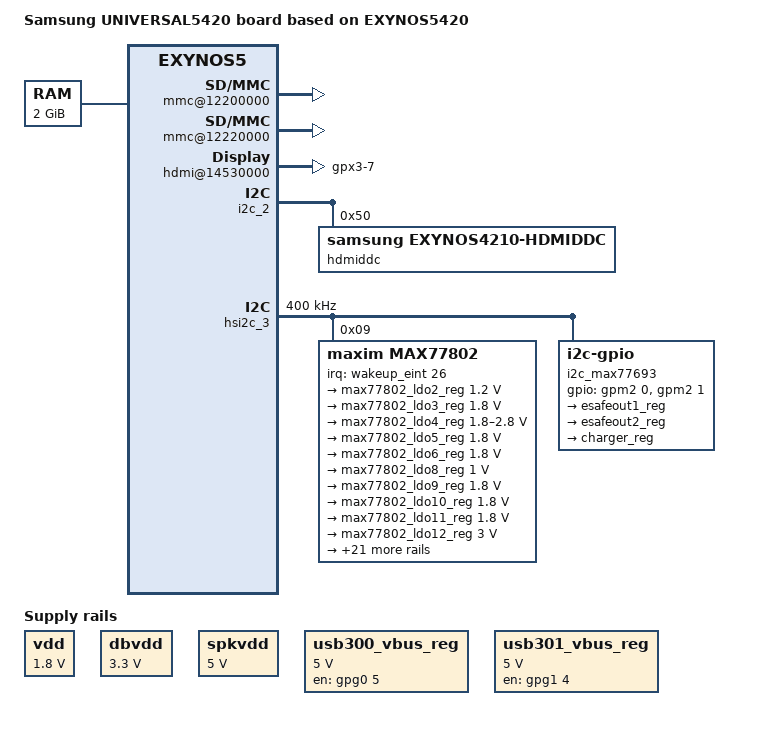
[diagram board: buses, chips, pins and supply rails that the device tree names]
/*
 * SAMSUNG UNIVERSAL5420 board device tree source
 *
 * Copyright (c) 2013 Samsung Electronics Co., Ltd.
 *		http://www.samsung.com
 *
 * This program is free software; you can redistribute it and/or modify
 * it under the terms of the GNU General Public License version 2 as
 * published by the Free Software Foundation.
*/

/dts-v1/;
#include "exynos5420.dtsi"

/ {
	model = "Samsung UNIVERSAL5420 board based on EXYNOS5420";
	compatible = "samsung,universal5420",
        "samsung,n1", "samsung,n1a",
        "samsung,n1awifi", "samsung,lt03",
        "samsung,lt03wifi", "samsung,exynos5420",
        "samsung,exynos5";

	memory {
		reg = <0x20000000 0x80000000>;
	};

	chosen {
		bootargs = "console=ttySAC2,115200n8 vmalloc=512M androidboot.console=ttySAC2";
	};

	fixed-rate-clocks {
		oscclk {
			compatible = "samsung,exynos5420-oscclk";
			clock-frequency = <24000000>;
		};
	};

	regulators {
		compatible = "simple-bus";
		#address-cells = <1>;
		#size-cells = <0>;

		vdd: fixed-regulator@0 {
			compatible = "regulator-fixed";
			reg = <0>;
			regulator-name = "vdd-supply";
			regulator-min-microvolt = <1800000>;
			regulator-max-microvolt = <1800000>;
			regulator-always-on;
		};

		dbvdd: fixed-regulator@1 {
			compatible = "regulator-fixed";
			reg = <1>;
			regulator-name = "dbvdd-supply";
			regulator-min-microvolt = <3300000>;
			regulator-max-microvolt = <3300000>;
			regulator-always-on;
		};

		spkvdd: fixed-regulator@2 {
			compatible = "regulator-fixed";
			reg = <2>;
			regulator-name = "spkvdd-supply";
			regulator-min-microvolt = <5000000>;
			regulator-max-microvolt = <5000000>;
			regulator-always-on;
		};
	};

	rtc@101E0000 {
		status = "okay";
	};


	/* The universal5420 has a Wolfson WM5102 codec. */
	/* Not sure if I should remove this node (from the smdk5420 device tree) */
	/* and replace it with the WM5102 node, or what? */

	codec@11000000 {
		samsung,mfc-r = <0x43000000 0x800000>;
		samsung,mfc-l = <0x51000000 0x800000>;
	};

	mmc@12200000 {
		status = "okay";
		broken-cd;
		supports-highspeed;
		card-detect-delay = <200>;
		samsung,dw-mshc-ciu-div = <3>;
		samsung,dw-mshc-sdr-timing = <0 4>;
		samsung,dw-mshc-ddr-timing = <0 2>;
		pinctrl-names = "default";
		pinctrl-0 = <&sd0_clk &sd0_cmd &sd0_bus4 &sd0_bus8>;

		slot@0 {
			reg = <0>;
			bus-width = <8>;
		};
	};

	mmc@12220000 {
		status = "okay";
		supports-highspeed;
		card-detect-delay = <200>;
		samsung,dw-mshc-ciu-div = <3>;
		samsung,dw-mshc-sdr-timing = <2 3>;
		samsung,dw-mshc-ddr-timing = <1 2>;
		pinctrl-names = "default";
		pinctrl-0 = <&sd2_clk &sd2_cmd &sd2_cd &sd2_bus4>;

		slot@0 {
			reg = <0>;
			bus-width = <4>;
		};
	};

	dp-controller@145B0000 {
		pinctrl-names = "default";
		pinctrl-0 = <&dp_hpd>;
		samsung,color-space = <0>;
		samsung,dynamic-range = <0>;
		samsung,ycbcr-coeff = <0>;
		samsung,color-depth = <1>;
		samsung,link-rate = <0x0a>;
		samsung,lane-count = <4>;
		status = "okay";
	};

	fimd@14400000 {
		status = "okay";
		display-timings {
			native-mode = <&timing0>;
			timing0: timing@0 {
				clock-frequency = <50000>;
				hactive = <2560>;
				vactive = <1600>;
				hfront-porch = <48>;
				hback-porch = <80>;
				hsync-len = <32>;
				vback-porch = <16>;
				vfront-porch = <8>;
				vsync-len = <6>;
			};
		};
	};

	pinctrl@13400000 {
		hdmi_hpd_irq: hdmi-hpd-irq {
			samsung,pins = "gpx3-7";
			samsung,pin-function = <0>;
			samsung,pin-pud = <1>;
			samsung,pin-drv = <0>;
		};
	};

	pinctrl@14000000 {
		usb300_vbus_en: usb300-vbus-en {
			samsung,pins = "gpg0-5";
			samsung,pin-function = <1>;
			samsung,pin-pud = <0>;
			samsung,pin-drv = <0>;
		};

		usb301_vbus_en: usb301-vbus-en {
			samsung,pins = "gpg1-4";
			samsung,pin-function = <1>;
			samsung,pin-pud = <0>;
			samsung,pin-drv = <0>;
		};
	};

	hdmi@14530000 {
		status = "okay";
		hpd-gpio = <&gpx3 7 0>;
		pinctrl-names = "default";
		pinctrl-0 = <&hdmi_hpd_irq>;
	};

	usb300_vbus_reg: regulator-usb300 {
		compatible = "regulator-fixed";
		regulator-name = "VBUS0";
		regulator-min-microvolt = <5000000>;
		regulator-max-microvolt = <5000000>;
		gpio = <&gpg0 5 0>;
		pinctrl-names = "default";
		pinctrl-0 = <&usb300_vbus_en>;
		enable-active-high;
	};

	usb301_vbus_reg: regulator-usb301 {
		compatible = "regulator-fixed";
		regulator-name = "VBUS1";
		regulator-min-microvolt = <5000000>;
		regulator-max-microvolt = <5000000>;
		gpio = <&gpg1 4 0>;
		pinctrl-names = "default";
		pinctrl-0 = <&usb301_vbus_en>;
		enable-active-high;
	};

	phy@12100000 {
		vbus-supply = <&usb300_vbus_reg>;
	};

	phy@12500000 {
		vbus-supply = <&usb301_vbus_reg>;
	};

	i2c_2: i2c@12C80000 {
		samsung,i2c-sda-delay = <100>;
		samsung,i2c-max-bus-freq = <66000>;
		status = "okay";

		hdmiddc@50 {
			compatible = "samsung,exynos4210-hdmiddc";
			reg = <0x50>;
		};
	};

	hsi2c_3: i2c@12CD0000 {
		compatible = "samsung,exynos5-hsi2c";
		reg = <0x12CD0000 0x1000>;
		#address-cells = <1>;
		#size-cells = <0>;
		clocks = <&clock CLK_USI0>;
		clock-names = "hsi2c";
		pinctrl-0 = <&i2c3_hs_bus>;
		pinctrl-names = "default";
		interrupts = <0 63 0>;
		clock-frequency = <400000>;
		status = "okay";

		max77802@09 {
			compatible = "maxim,max77802";
			interrupt-parent = <&wakeup_eint>;
			interrupts = <26 0>;
			reg = <0x09>;
			#address-cells = <1>;
			#size-cells = <0>;
			/* The above is taken from max77802 documentation file. Unit-address has yet to be verified. */

			regulators {
				max77802_ldo2_reg: LDO2 {
					regulator-name ="vmem2_1.2v_ap";
					regulator-min-microvolt = <1200000>;
					regulator-max-microvolt = <1200000>;
					regulator-always-on;
					regulator-boot-on;
					regulator-apply-uV;
					regulator-valid-modes-mask {	
						regulator-change-status;
					};
					regulator-state-mem {
						regulator-state-disabled;
						regulator-state-enabled;
					};
					max77802,consumer-supplies = "vmem2_1.2v_ap"; //or: regulator-consumer-supplies =
				};

				max77802_ldo3_reg: LDO3 {
					regulator-compatible = 	"vcc_1.8v_ap", "spi2.0", "wm5102-codec";
					regulator-name = "vcc_1.8v_ap";
					regulator-min-microvolt = <1800000>;
					regulator-max-microvolt = <1800000>;
					regulator-always-on;
					regulator-boot-on;
					regulator-apply-uV;
					regulator-valid-modes-mask {	
						regulator-change-status;
					};
					regulator-state-mem {
						regulator-status-disabled;
						regulator-status-enabled;
					};
					max77802,consumer-supplies = "vcc_1.8v_ap";
				};

				max77802_ldo4_reg: LDO4 {
					regulator-compatible = "vmmc2_2.8v_ap", "vqmmc,dw_mmc.2", "vqmmc", "dw_mmc.2";
					regulator-name = "vmmc2_2.8v_ap";
					regulator-min-microvolt = <1800000>;
					regulator-max-microvolt = <2800000>;
					regulator-always-on;
					regulator-boot-on;
					regulator-apply-uV;
					regulator-valid-modes-mask {
						regulator-change-voltage;
						regulator-change-status;
					};
					regulator-state-mem {
						regulator-status-disabled;
						regulator-status-enabled;
					};
					max77802,consumer-supplies = "vmmc2_2.8v_ap";
				};

				max77802_ldo5_reg: LDO5 {
					regulator-name = "vhsic_1.8v_ap";
					regulator-min-microvolt = <1800000>;
					regulator-max-microvolt = <1800000>;
					regulator-always-on;
					regulator-boot-on;
					regulator-apply-uV;
					regulator-valid-modes-mask {	
						regulator-change-status;
					};
					regulator-state-mem {
						regulator-status-disabled;
						regulator-status-enabled;
					};
					max77802,consumer-supplies = "vhsic_1.8v_ap";
				};

				max77802_ldo6_reg: LDO6 {
					regulator-name = "vxpll_1.8v_ap"
					regulator-min-microvolt = <1800000>;
					regulator-max-microvolt = <1800000>;
					regulator-always-on;
					regulator-boot-on;
					regulator-apply-uV;
					regulator-valid-modes-mask {	
						regulator-change-status;
					};
					regulator-state-mem {
						regulator-status-disabled;
						regulator-status-enabled;
					};
					max77802,consumer-supplies = "vxpll_1.8v_ap";
				};

				max77802_ldo8_reg: LDO8 {
					regulator-name = "vmipi_1.0v_ap"
					regulator-min-microvolt = <1000000>;
					regulator-max-microvolt = <1000000>;
					regulator-always-on;
					regulator-boot-on;
					regulator-apply-uV;
					regulator-valid-modes-mask {	
						regulator-change-status;
					};
					regulator-state-mem {
						regulator-status-disabled;
						regulator-status-enabled;
					};
					max77802,consumer-supplies = "vmipi_1.0v_ap";
				};

				max77802_ldo9_reg: LDO9 {
					regulator-name = "vadc_1.8v";
					regulator-min-microvolt = <1800000>;
					regulator-max-microvolt = <1800000>;
					regulator-always-on;
					regulator-boot-on;
					regulator-apply-uV;
					regulator-valid-modes-mask {	
						regulator-change-status;
					};
					regulator-state-mem {
						regulator-status-disabled;
						regulator-status-enabled;
					};
					max77802,consumer-supplies = "vadc_1.8v";
				};

				max77802_ldo10_reg: LDO10 {
					regulator-name = "vmipi_1.8v_ap";
					regulator-min-microvolt = <1800000>;
					regulator-max-microvolt = <1800000>;
					regulator-always-on;
					regulator-boot-on;
					regulator-apply-uV;
					regulator-valid-modes-mask {	
						regulator-change-status;
					};
					regulator-state-mem {
						regulator-status-disabled;
						regulator-status-enabled;
					};
					max77802,consumer-supplies = "vmipi_1.0v_ap";
				};

				max77802_ldo11_reg: LDO11 {
					regulator-name = "vddq_pre_1.8v";
					regulator-min-microvolt = <1800000>;
					regulator-max-microvolt = <1800000>;
					regulator-always-on;
					regulator-boot-on;
					regulator-apply-uV;
					regulator-valid-modes-mask {	
						regulator-change-status;
					};
					regulator-state-mem {
						regulator-status-disabled;
						regulator-status-enabled;
					};
					max77802,consumer-supplies = "vddq_pre_1.8v";
				};

				max77802_ldo12_reg: LDO12 {
					regulator-name = "vuotg_3.0v_ap";
					regulator-min-microvolt = <3000000>;
					regulator-max-microvolt = <3000000>;
					regulator-always-on;
					regulator-boot-on;
					regulator-apply-uV;
					regulator-valid-modes-mask {	
						regulator-change-status;
					};
					regulator-state-mem {
						regulator-status-disabled;
						regulator-status-enabled;
					};
					max77802,consumer-supplies = "vuotg_3.0v_ap";
				};

				max77802_ldo14_reg: LDO14 {
					regulator-name = "vabb1_1.8v_ap";
					regulator-min-microvolt = <1800000>;
					regulator-max-microvolt = <1800000>;
					regulator-always-on;
					regulator-boot-on;
					regulator-apply-uV;
					regulator-valid-modes-mask {	
						regulator-change-status;
					};
					regulator-state-mem {
						regulator-status-disabled;
						regulator-status-enabled;
					};
					max77802,consumer-supplies = "vabb1_1.8v_ap";
				};

				max77802_ldo15_reg: LDO15 {
					regulator-name = "vhsic_1.0v_ap";
					regulator-min-microvolt = <1000000>;
					regulator-max-microvolt = <1000000>;
					regulator-always-on;
					regulator-boot-on;
					regulator-apply-uV;
					regulator-valid-modes-mask {	
						regulator-change-status;
					};
					regulator-state-mem {
						regulator-status-disabled;
						regulator-status-enabled;
					};
					max77802,consumer-supplies = "vhsic_1.0v_ap";
				};

				max77802_ldo17_reg: LDO17 {
					regulator-name = "vg3ds_1.0v_ap";
					regulator-min-microvolt = <1000000>;
					regulator-max-microvolt = <1000000>;
					regulator-always-on;
					regulator-boot-on;
					regulator-apply-uV;
					regulator-valid-modes-mask {	
						regulator-change-status;
					};
					regulator-state-mem {
						regulator-status-disabled;
						regulator-status-enabled;
					};
					max77802,consumer-supplies = "vg3ds_1.0v_ap";
				};
			
				max77802_ldo18_reg: LDO18 {
					regulator-name = "cam_isp_sensor_io_1.8v";
					regulator-min-microvolt = <1800000>;
					regulator-max-microvolt = <1800000>;
					regulator-always-on;
					regulator-boot-on;
					regulator-apply-uV;
					regulator-valid-modes-mask {	
						regulator-change-status;
					};
					regulator-state-mem {
						regulator-status-disabled;
						regulator-status-enabled;
					};
					max77802,consumer-supplies = "cam_isp_sensor_io_1.8v";
				};
			
				max77802_ldo19_reg: LDO19 {
					regulator-name = "vt_cam_1.8v";
					regulator-min-microvolt = <1800000>;
					regulator-max-microvolt = <1800000>;
					regulator-always-on;
					regulator-boot-on;
					regulator-apply-uV;
					regulator-valid-modes-mask {	
						regulator-change-status;
					};
					regulator-state-mem {
						regulator-status-disabled;
						regulator-status-enabled;
					};
					max77802,consumer-supplies = "vt_cam_1.8v";
				};
			
				max77802_ldo23_reg: LDO23 {
					regulator-name = "key_led_3.3v";
					regulator-min-microvolt = <3300000>;
					regulator-max-microvolt = <3300000>;
					regulator-always-on;
					regulator-boot-on;
					regulator-apply-uV;
					regulator-valid-modes-mask {	
						regulator-change-status;
					};
					regulator-state-mem {
						regulator-status-disabled;
						regulator-status-enabled;
					};
					max77802,consumer-supplies = "key_led_3.3v";
				};

				max77802_ldo24_reg: LDO24 {
					regulator-name = "cam_af_2.8v_pm";
					regulator-min-microvolt = <2800000>;
					regulator-max-microvolt = <2800000>;
					regulator-always-on;
					regulator-boot-on;
					regulator-apply-uV;
					regulator-valid-modes-mask {
						regulator-change-voltage;	
						regulator-change-status;
					};
					regulator-state-mem {
						regulator-status-disabled;
						regulator-status-enabled;
					};
					max77802,consumer-supplies = "cam_af_2.8v_pm";
				};

				max77802_ldo25_reg: LDO25 {
					regulator-name = "vcc_3.3v_mhl";
					regulator-min-microvolt = <3300000>;
					regulator-max-microvolt = <3300000>;
					regulator-always-on;
					regulator-boot-on;
					regulator-apply-uV;
					regulator-valid-modes-mask {	
						regulator-change-status;
					};
					regulator-state-mem {
						regulator-status-disabled;
						regulator-status-enabled;
					};
					max77802,consumer-supplies = "vcc_3.3v_mhl";
				};

				max77802_ldo26reg: LDO26 {
					regulator-name = "vcc_3.0v_motor";
					regulator-min-microvolt = <3000000>;
					regulator-max-microvolt = <3000000>;
					regulator-always-on;
					regulator-boot-on;
					regulator-apply-uV;
					regulator-valid-modes-mask {	
						regulator-change-status;
					};
					regulator-state-mem {
						regulator-status-disabled;
						regulator-status-enabled;
					};
					max77802,consumer-supplies = "vcc_3.0v_motor";
				};

				max77802_ldo27_reg: LDO27 {
					regulator-name = "vsil_1.2a";
					regulator-min-microvolt = <1200000>;
					regulator-max-microvolt = <1200000>;
					regulator-always-on;
					regulator-boot-on;
					regulator-apply-uV;
					regulator-valid-modes-mask {	
						regulator-change-status;
					};
					regulator-state-mem {
						regulator-status-disabled;
						regulator-status-enabled;
					};
					max77802,consumer-supplies = "vsil_1.2a";
				};

				max77802_ldo28_reg: LDO28 {
					regulator-name = "vcc_1.8v_mhl";
					regulator-min-microvolt = <1800000>;
					regulator-max-microvolt = <1800000>;
					regulator-always-on;
					regulator-boot-on;
					regulator-apply-uV;
					regulator-valid-modes-mask {	
						regulator-change-status;
					};
					regulator-state-mem {
						regulator-status-disabled;
						regulator-status-enabled;
					};
					max77802,consumer-supplies = "vcc_1.8v_mhl";
				};

				max77802_ldo29_reg: LDO29 {
					regulator-name = "tsp_vdd_1.8v";
					regulator-min-microvolt = <1800000>;
					regulator-max-microvolt = <1800000>;
					regulator-always-on;
					regulator-boot-on;
					regulator-apply-uV;
					regulator-valid-modes-mask {	
						regulator-change-status;
					};
					regulator-state-mem {
						regulator-status-disabled;
						regulator-status-enabled;
					};
					max77802,consumer-supplies = "tsp_vdd_1.8v";
				};

				max77802_ldo30_reg: LDO30 {
					regulator-name = "vmifs_1.0v_ap";
					regulator-min-microvolt = <1000000>;
					regulator-max-microvolt = <1000000>;
					regulator-always-on;
					regulator-boot-on;
					regulator-apply-uV;
					regulator-valid-modes-mask {	
						regulator-change-status;
					};
					regulator-state-mem {
						regulator-status-disabled;
						regulator-status-enabled;
					};
					max77802,consumer-supplies = "vmifs_1.0v_ap";
				};

				max77802_ldo32_reg: LDO32 {
					regulator-name = "irled_3.3V";
					regulator-min-microvolt = <3300000>;
					regulator-max-microvolt = <3300000>;
					regulator-always-on;
					regulator-boot-on;
					regulator-apply-uV;
					regulator-valid-modes-mask {	
						regulator-change-status;
					};
					regulator-state-mem {
						regulator-status-disabled;
						regulator-status-enabled;
					};
					max77802,consumer-supplies = "irled_3.3V";
				};

				max77802_ldo33_reg: LDO33 {
					regulator-name = "vcc_2.8v_ap";
					regulator-min-microvolt = <2800000>;
					regulator-max-microvolt = <2800000>;
					regulator-always-on;
					regulator-boot-on;
					regulator-apply-uV;
					regulator-valid-modes-mask {	
						regulator-change-status;
					};
					regulator-state-mem {
						regulator-status-disabled;
						regulator-status-enabled;
					};
					max77802,consumer-supplies = "vcc_2.8v_ap";
				};

				max77802_ldo35_reg: LDO35 {
					regulator-name = "cam_sensor_core_1.2v";
					regulator-min-microvolt = <1050000>;
					regulator-max-microvolt = <1200000>;
					regulator-always-on;
					regulator-boot-on;
					regulator-apply-uV;
					regulator-valid-modes-mask {	
						regulator-change-status;
					};
					regulator-state-mem {
						regulator-status-disabled;
						regulator-status-enabled;
					};
					max77802,consumer-supplies = "cam_sensor_core_1.2v";

				max77802_buck1_reg: BUCK1 {
					regulator-compatible = "BUCK1";
					regulator-name = "vdd_mif";
					regulator-min-microvolt = <700000>;
					regulator-max-microvolt = <1300000>;
					regulator-always-on;
					regulator-boot-on;
					regulator-valid-modes-mask {
						regulator-change-voltage;
						regulator-change-status;
					};
					regulator-state-mem {
						regulator-state-uv = <1100000>;
						regulator-state-mode = "normal";
						regulator-state-disabled;
					};
					max77802,consumer-supplies = "vdd_mif";
				};

				max77802_buck2_reg: BUCK2 {
					regulator-compatible = "BUCK2";
					regulator-name = "vdd_arm";
					regulator-min-microvolt = <800000>;
					regulator-max-microvolt = <1500000>;
					regulator-apply-uV;
					regulator-always-on;
					regulator-boot-on;
					regulator-valid-modes-mask {
						regulator-change-status;
					};
					regulator-state-mem {
						regulator-state-disabled;
					};
					max77802,consumer-supplies = "vdd_arm";
				};

				max77802_buck3_reg: BUCK3 {
					regulator-compatible = "BUCK3";
					regulator-name = "vdd_int";
					regulator-min-microvolt = <800000>;
					regulator-max-microvolt = <1400000>;
					regulator-always-on;
					regulator-boot-on;
					regulator-apply-uV;
					regulator-valid-modes-mask {
						regulator-change-voltage;
						regulator-change-status;
					};
					regulator-state-mem {
						regulator-state-uv = <1100000>;
						regulator-state-mode = "normal";
						regulator-state-disabled;
					};
					max77802,consumer-supplies = "vdd_int";
				};

				max77802_buck4_reg: BUCK4 {
					regulator-compatible = "BUCK4";
					regulator-name = "vdd_g3d";
					regulator-min-microvolt = <700000>;
					regulator-max-microvolt = <1400000>;
					regulator-always-on;
					regulator-boot-on;
					regulator-apply-uV;
					regulator-valid-modes-mask {
						regulator-change-voltage;
						regulator-change-status;
					};
					regulator-state-mem {
						regulator-state-uv = <1100000>;
						regulator-state-mode = "normal";
						regulator-state-disabled;
					};
					max77802,consumer-supplies = "vdd_g3d";
				};

				max77802_buck6_reg: BUCK6 {
					regulator-compatible = "BUCK6";
					regulator-name = "vdd_kfc";
					regulator-min-microvolt = <800000>;
					regulator-max-microvolt = <1500000>;
					regulator-always-on;
					regulator-boot-on;
					regulator-valid-modes-mask {
						regulator-change-status;
					};
					regulator-state-mem {
						regulator-state-disabled;
					};
					max77802,consumer-supplies = "vdd_kfc";
				};
			};
		};
	};

	/* The addresses below have yet to be verified/corrected. Otherwise I'm pretty sure it's quite accurate. */

	i2c_max77693: i2c-gpio {
		compatible = "i2c-gpio";
		gpios = <&gpm2 0 GPIO_ACTIVE_HIGH>, <&gpm2 1 GPIO_ACTIVE_HIGH>;
		i2c-gpio,delay-us = <2>;
		#address-cells = <1>;
		#size-cells = <0>;
		status = "okay";

		max77693@66 {
			compatible = "maxim,max77693";
			interrupt-parent = <&gpx1>;
			interrupts = <5 2>;
			reg = <0x66>;

			regulators {
				esafeout1_reg: ESAFEOUT1@1 {
					regulator-name = "ESAFEOUT1";
					regulator-boot-on;
				};
				esafeout2_reg: ESAFEOUT2@2 {
					regulator-name = "ESAFEOUT2";
				};
				charger_reg: CHARGER@0 {
					regulator-name = "CHARGER";
					regulator-boot-on;
					regulator-min-microamp = <60000>;
					regulator-max-microamp = <2580000>;
				};
			};

			/* The stuff below may or may not be a stupid addition. */
			/* Not sure if it's actually relevant. */

			charger {
				compatible = "maxim,max77693-charger";

				maxim,constant-microvolt = <4350000>;
				maxim,min-system-microvolt = <3600000>;
				maxim,thermal-regulation-celsius = <100>;
				maxim,battery-overcurrent-microamp = <3500000>;
				maxim,charge-input-threshold-microvolt = <4300000>;
			};
 		};
 	};
};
